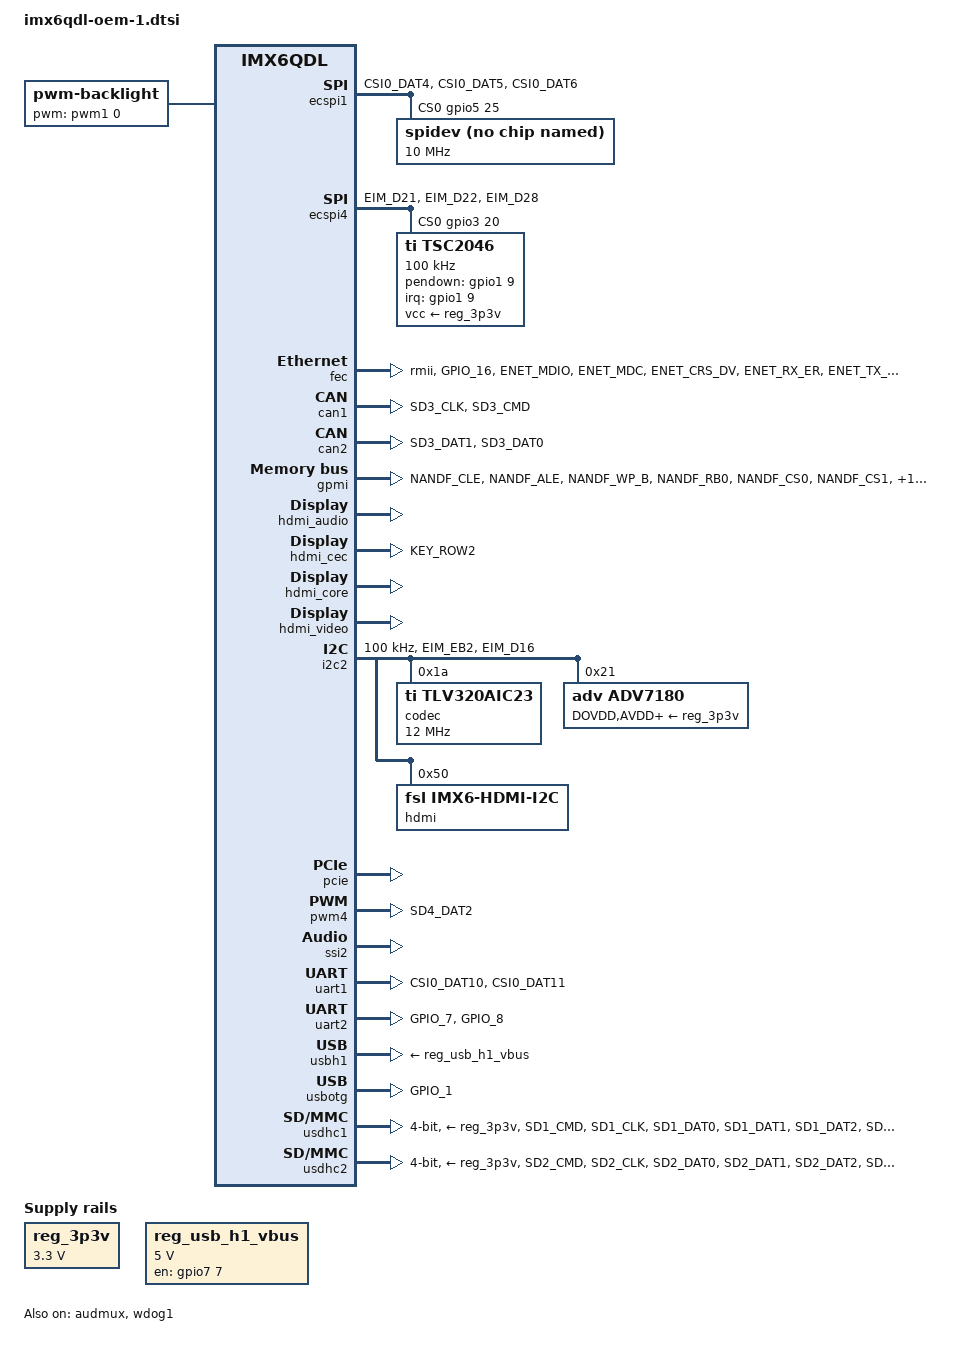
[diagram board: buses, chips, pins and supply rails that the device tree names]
/*
 * Copyright 2014 starterkit.ru
 *
 * The code contained herein is licensed under the GNU General Public
 * License V2.
 */

#include <dt-bindings/gpio/gpio.h>
#include <dt-bindings/input/input.h>
#include "imx6qdl-lvds-1024x768-1024x768.dtsi"

/ {
	aliases {
		mxcfb0 = &mxcfb1;
		mxcfb1 = &mxcfb2;
	};

	backlight {
		compatible = "pwm-backlight";
		pwms = <&pwm1 0 5000000>;
		brightness-levels = <0 4 8 16 32 64 128 255>;
		default-brightness-level = <7>;
	};

	regulators {
		compatible = "simple-bus";

		reg_3p3v: 3p3v {
			compatible = "regulator-fixed";
			regulator-name = "3P3V";
			regulator-min-microvolt = <3300000>;
			regulator-max-microvolt = <3300000>;
			regulator-always-on;
		};

		reg_usb_h1_vbus: usb_h1_vbus {
			compatible = "regulator-fixed";
			regulator-name = "usb_h1_vbus";
			regulator-min-microvolt = <5000000>;
			regulator-max-microvolt = <5000000>;
			gpio = <&gpio7 7 0>;
			enable-active-high;
		};
	};

	mxcfb1: fb@0 {
		compatible = "fsl,mxc_sdc_fb";
		disp_dev = "ldb";
		interface_pix_fmt = "RGB24";
		default_bpp = <16>;
		int_clk = <0>;
		late_init = <0>;
		status = "disabled";
	};

	mxcfb2: fb@1 {
		compatible = "fsl,mxc_sdc_fb";
		disp_dev = "hdmi";
		interface_pix_fmt = "RGB24";
		mode_str = "1280x720M@60";
		default_bpp = <16>;
		int_clk = <0>;
		late_init = <0>;
		status = "disabled";
	};

	lcd@0 {
		compatible = "fsl,lcd";
		ipu_id = <0>;
		disp_id = <0>;
		default_ifmt = "RGB24";
		pinctrl-names = "default";
		pinctrl-0 = <&pinctrl_ipu1_disp_oem>;
		status = "okay";
	};

	sound {
		compatible = "fsl,imx-audio-tlv320";
		model = "imx-tlv320";
		ssi-controller = <&ssi2>;
		audio-codec = <&codec>;
		audio-routing =
			"MICIN", "Mic Jack",
			"Headphone Jack", "LHPOUT",
			"Headphone Jack", "RHPOUT";
		mux-int-port = <2>;
		mux-ext-port = <5>;
	};

	sound-hdmi {
		compatible = "fsl,imx6q-audio-hdmi",
			     "fsl,imx-audio-hdmi";
		model = "imx-audio-hdmi";
		hdmi-controller = <&hdmi_audio>;
	};

	sound-spdif {
		compatible = "fsl,imx-audio-spdif",
				"fsl,imx-sabreauto-spdif";
		model = "imx-spdif";
		spdif-controller = <&spdif>;
		spdif-out;
	};

	v4l2_cap_0 {
		compatible = "fsl,imx6q-v4l2-capture";
		ipu_id = <0>;
		csi_id = <0>;
		mclk_source = <0>;
		ain_num = <1>;
		status = "okay";
	};
	
	v4l2_out {
		compatible = "fsl,mxc_v4l2_output";
		status = "okay";
	};
};

&audmux {
	pinctrl-names = "default";
	pinctrl-0 = <&pinctrl_audmux_oem>;
	status = "okay";
};

&cpu0 {
	arm-supply = <&reg_arm>;
	soc-supply = <&reg_soc>;
};

&ecspi1 {
	fsl,spi-num-chipselects = <1>;
	cs-gpios = <&gpio5 25 0>;
	pinctrl-names = "default";
	pinctrl-0 = <&pinctrl_ecspi1_oem>;
	status = "okay";

	spidev {
		compatible = "rohm,dh2228fv";
		spi-max-frequency = <10000000>;
		reg = <0>;
	};
};

&ecspi4 {
	fsl,spi-num-chipselects = <1>;
	cs-gpios = <&gpio3 20 0>;
	pinctrl-names = "default";
	pinctrl-0 = <&pinctrl_ecspi4_oem>;
	status = "okay";

	tsc2046@0 {
		compatible = "ti,tsc2046";
		reg = <0>;
		spi-max-frequency = <100000>;
		/* pen irq is GPIO1_9 */
		interrupt-parent = <&gpio1>;
		interrupts = <9 0x2>;
		pendown-gpio = <&gpio1 9 0>;
		vcc-supply = <&reg_3p3v>;

		ti,debounce-max = /bits/ 16 <5>;
		ti,debounce-tol = /bits/ 16 <10>;
		ti,debounce-rep = /bits/ 16 <0>;

		linux,wakeup;
	};
};

&fec {
	pinctrl-names = "default";
	pinctrl-0 = <&pinctrl_enet_oem>;
	phy-mode = "rmii";
	phy-reset-gpios = <&gpio1 23 0>;
	status = "okay";
};

&can1 {
	pinctrl-names = "default";
	pinctrl-0 = <&pinctrl_flexcan1_oem>;
	status = "okay";
};

&can2 {
	pinctrl-names = "default";
	pinctrl-0 = <&pinctrl_flexcan2_oem>;
	status = "okay";
};

&gpc {
	fsl,ldo-bypass = <0>;
	fsl,wdog-reset = <1>;
};

&gpmi {
	pinctrl-names = "default";
	pinctrl-0 = <&pinctrl_gpmi_nand_oem>;
	nand-on-flash-bbt;
	fsl,legacy-bch-geometry;
	status = "okay";
};

&hdmi_audio {
	status = "okay";
};

&hdmi_cec {
	pinctrl-names = "default";
	pinctrl-0 = <&pinctrl_hdmi_cec_oem>;
	status = "okay";
};

&hdmi_core {
	ipu_id = <0>;
	disp_id = <1>;
	status = "okay";
};

&hdmi_video {
	fsl,phy_reg_vlev = <0x0294>;
	fsl,phy_reg_cksymtx = <0x800d>;
	status = "okay";
};

&i2c2 {
	clock-frequency = <100000>;
	pinctrl-names = "default";
	pinctrl-0 = <&pinctrl_i2c2_oem>;
	status = "okay";

	codec: tlv320aic23@1a {
		compatible = "ti,tlv320aic23";
		reg = <0x1a>;
		clocks = <&clks 200>;
		clock-frequency = <12000000>;
	};

	adv7180: adv7180@21 {
		compatible = "adv,adv7180";
		reg = <0x21>;
		pinctrl-names = "default";
		pinctrl-0 = <&pinctrl_ipu1_csi_oem>;
		clocks = <&clks 201>;
		clock-names = "csi_mclk";
		DOVDD-supply = <&reg_3p3v>;
		AVDD-supply = <&reg_3p3v>;
		DVDD-supply = <&reg_3p3v>;
		PVDD-supply = <&reg_3p3v>;
		csi_id = <0>;
		mclk = <24000000>;
		mclk_source = <0>;
		cvbs = <1>;
		cam_std = <0>; /* 0 - PAL(default), 1 - NTSC J , 2 - NTSC M */
	};
	
	hdmi: edid@50 {
		compatible = "fsl,imx6-hdmi-i2c";
		reg = <0x50>;
	};
};

&iomuxc {
	pinctrl-names = "default";
	pinctrl-0 = <&pinctrl_hog>;

	hog {
		pinctrl_hog: hoggrp {
			fsl,pins = <
				/* AUDIO_MCLK */
				MX6QDL_PAD_NANDF_CS2__CCM_CLKO2             0x80000000
				/* ECSPI1 CS0 */
				MX6QDL_PAD_CSI0_DAT7__GPIO5_IO25            0x80000000
				/* ECSPI4 CS0 */
				MX6QDL_PAD_EIM_D20__GPIO3_IO20              0x80000000
				/* LVDS0 TS PENIRQ */
				MX6QDL_PAD_GPIO_9__GPIO1_IO09               0x80000000
				/* LVDS1 TS PENIRQ */
				MX6QDL_PAD_KEY_ROW4__GPIO4_IO15             0x80000000
				/* PHY Reset */
				MX6QDL_PAD_ENET_REF_CLK__GPIO1_IO23         0x80000000
				/* SD1 CD */
				MX6QDL_PAD_SD4_DAT1__GPIO2_IO09             0x80000000
				/* SD2_DET */
				MX6QDL_PAD_SD4_DAT3__GPIO2_IO11             0x80000000
				/* USB Host power */
				MX6QDL_PAD_SD3_DAT3__GPIO7_IO07             0x80000000

                MX6QDL_PAD_EIM_DA11__GPIO3_IO11            0x0000B0B1
                MX6QDL_PAD_EIM_DA12__GPIO3_IO12            0x0000B0B1
                MX6QDL_PAD_EIM_DA13__GPIO3_IO13            0x0000B0B1
                MX6QDL_PAD_EIM_DA14__GPIO3_IO14            0x0000B0F1
                MX6QDL_PAD_EIM_DA15__GPIO3_IO15            0x0000B0B1
                MX6QDL_PAD_EIM_EB0__GPIO2_IO28             0x0000B0B1
			>;
		};
	};

	audmux {
		pinctrl_audmux_oem: audmux-oem {
			fsl,pins = <
				MX6QDL_PAD_KEY_COL0__AUD5_TXC               0x130b0
				MX6QDL_PAD_KEY_ROW0__AUD5_TXD               0x130b0
				MX6QDL_PAD_KEY_COL1__AUD5_TXFS              0x130b0
				MX6QDL_PAD_KEY_ROW1__AUD5_RXD               0x130b0
			>;
		};
	};

	ecspi1 {
		pinctrl_ecspi1_oem: ecspi1-oem {
			fsl,pins = <
				MX6QDL_PAD_CSI0_DAT4__ECSPI1_SCLK           0x100b1
				MX6QDL_PAD_CSI0_DAT5__ECSPI1_MOSI           0x100b1
				MX6QDL_PAD_CSI0_DAT6__ECSPI1_MISO           0x100b1
			>;
		};
	};

	ecspi4 {
		pinctrl_ecspi4_oem: ecspi4-oem {
			fsl,pins = <
				MX6QDL_PAD_EIM_D21__ECSPI4_SCLK             0x100b1
				MX6QDL_PAD_EIM_D22__ECSPI4_MISO             0x100b1
				MX6QDL_PAD_EIM_D28__ECSPI4_MOSI             0x100b1
			>;
		};
	};

	fec {
		pinctrl_enet_oem: enet-oem {
			fsl,pins = <
				MX6QDL_PAD_GPIO_16__ENET_REF_CLK            0x4001b0b0
				MX6QDL_PAD_ENET_MDIO__ENET_MDIO             0x1b0b0
				MX6QDL_PAD_ENET_MDC__ENET_MDC               0x1b0b0
				MX6QDL_PAD_ENET_CRS_DV__ENET_RX_EN          0x1b0b0
				MX6QDL_PAD_ENET_RX_ER__ENET_RX_ER           0x1b0b0
				MX6QDL_PAD_ENET_TX_EN__ENET_TX_EN           0x1b0b0
				MX6QDL_PAD_ENET_RXD0__ENET_RX_DATA0         0x1b0b0
				MX6QDL_PAD_ENET_RXD1__ENET_RX_DATA1         0x1b0b0
				MX6QDL_PAD_ENET_TXD0__ENET_TX_DATA0         0x1b0b0
				MX6QDL_PAD_ENET_TXD1__ENET_TX_DATA1         0x1b0b0
			>;
		};
	};

	flexcan1 {
		pinctrl_flexcan1_oem: flexcan1-oem {
			fsl,pins = <
				MX6QDL_PAD_SD3_CLK__FLEXCAN1_RX             0x80000000
				MX6QDL_PAD_SD3_CMD__FLEXCAN1_TX             0x80000000
			>;
		};
	};

	flexcan2 {
		pinctrl_flexcan2_oem: flexcan2-oem {
			fsl,pins = <
				MX6QDL_PAD_SD3_DAT1__FLEXCAN2_RX            0x80000000
				MX6QDL_PAD_SD3_DAT0__FLEXCAN2_TX            0x80000000
			>;
		};
	};

	gpmi-nand {
		pinctrl_gpmi_nand_oem: gpmi-nand-oem {
			fsl,pins = <
				MX6QDL_PAD_NANDF_CLE__NAND_CLE              0xb0b1
				MX6QDL_PAD_NANDF_ALE__NAND_ALE              0xb0b1
				MX6QDL_PAD_NANDF_WP_B__NAND_WP_B            0xb0b1
				MX6QDL_PAD_NANDF_RB0__NAND_READY_B          0xb000
				MX6QDL_PAD_NANDF_CS0__NAND_CE0_B            0xb0b1
				MX6QDL_PAD_NANDF_CS1__NAND_CE1_B            0xb0b1
				MX6QDL_PAD_SD4_CMD__NAND_RE_B               0xb0b1
				MX6QDL_PAD_SD4_CLK__NAND_WE_B               0xb0b1
				MX6QDL_PAD_NANDF_D0__NAND_DATA00            0xb0b1
				MX6QDL_PAD_NANDF_D1__NAND_DATA01            0xb0b1
				MX6QDL_PAD_NANDF_D2__NAND_DATA02            0xb0b1
				MX6QDL_PAD_NANDF_D3__NAND_DATA03            0xb0b1
				MX6QDL_PAD_NANDF_D4__NAND_DATA04            0xb0b1
				MX6QDL_PAD_NANDF_D5__NAND_DATA05            0xb0b1
				MX6QDL_PAD_NANDF_D6__NAND_DATA06            0xb0b1
				MX6QDL_PAD_NANDF_D7__NAND_DATA07            0xb0b1
				MX6QDL_PAD_SD4_DAT0__NAND_DQS               0x00b1
			>;
		};
	};

	hdmi_cec {
		pinctrl_hdmi_cec_oem: hdmi-cec-oem {
			fsl,pins = <
				MX6QDL_PAD_KEY_ROW2__HDMI_TX_CEC_LINE       0x1f8b0
			>;
		};
	};

	i2c2 {
		pinctrl_i2c2_oem: i2c2-oem {
			fsl,pins = <
				MX6QDL_PAD_EIM_EB2__I2C2_SCL                0x4001b8b1
				MX6QDL_PAD_EIM_D16__I2C2_SDA                0x4001b8b1
			>;
		};
	};

	i2c3 {
		pinctrl_i2c3_oem: i2c3-oem {
			fsl,pins = <
				MX6QDL_PAD_EIM_D17__I2C3_SCL                0x4001b8b1
				MX6QDL_PAD_EIM_D18__I2C3_SDA                0x4001b8b1
			>;
		};
	};

	ipu1 {
		pinctrl_ipu1_csi_oem: ipu1-csi-oem {
			fsl,pins = <
				MX6QDL_PAD_CSI0_DAT12__IPU1_CSI0_DATA12     0x80000000
				MX6QDL_PAD_CSI0_DAT13__IPU1_CSI0_DATA13     0x80000000
				MX6QDL_PAD_CSI0_DAT14__IPU1_CSI0_DATA14     0x80000000
				MX6QDL_PAD_CSI0_DAT15__IPU1_CSI0_DATA15     0x80000000
				MX6QDL_PAD_CSI0_DAT16__IPU1_CSI0_DATA16     0x80000000
				MX6QDL_PAD_CSI0_DAT17__IPU1_CSI0_DATA17     0x80000000
				MX6QDL_PAD_CSI0_DAT18__IPU1_CSI0_DATA18     0x80000000
				MX6QDL_PAD_CSI0_DAT19__IPU1_CSI0_DATA19     0x80000000
				MX6QDL_PAD_CSI0_DATA_EN__IPU1_CSI0_DATA_EN  0x80000000
				MX6QDL_PAD_CSI0_PIXCLK__IPU1_CSI0_PIXCLK    0x80000000
				MX6QDL_PAD_CSI0_MCLK__IPU1_CSI0_HSYNC       0x80000000
				MX6QDL_PAD_CSI0_VSYNC__IPU1_CSI0_VSYNC      0x80000000
			>;
		};

		pinctrl_ipu1_disp_oem: ipu1-disp-oem {
			fsl,pins = <
				MX6QDL_PAD_DI0_DISP_CLK__IPU1_DI0_DISP_CLK  0x10
				MX6QDL_PAD_DI0_PIN15__IPU1_DI0_PIN15        0x10
				MX6QDL_PAD_DI0_PIN2__IPU1_DI0_PIN02         0x10
				MX6QDL_PAD_DI0_PIN3__IPU1_DI0_PIN03         0x10
				MX6QDL_PAD_DI0_PIN4__IPU1_DI0_PIN04         0x80000000
				MX6QDL_PAD_DISP0_DAT0__IPU1_DISP0_DATA00    0x10
				MX6QDL_PAD_DISP0_DAT1__IPU1_DISP0_DATA01    0x10
				MX6QDL_PAD_DISP0_DAT2__IPU1_DISP0_DATA02    0x10
				MX6QDL_PAD_DISP0_DAT3__IPU1_DISP0_DATA03    0x10
				MX6QDL_PAD_DISP0_DAT4__IPU1_DISP0_DATA04    0x10
				MX6QDL_PAD_DISP0_DAT5__IPU1_DISP0_DATA05    0x10
				MX6QDL_PAD_DISP0_DAT6__IPU1_DISP0_DATA06    0x10
				MX6QDL_PAD_DISP0_DAT7__IPU1_DISP0_DATA07    0x10
				MX6QDL_PAD_DISP0_DAT8__IPU1_DISP0_DATA08    0x10
				MX6QDL_PAD_DISP0_DAT9__IPU1_DISP0_DATA09    0x10
				MX6QDL_PAD_DISP0_DAT10__IPU1_DISP0_DATA10   0x10
				MX6QDL_PAD_DISP0_DAT11__IPU1_DISP0_DATA11   0x10
				MX6QDL_PAD_DISP0_DAT12__IPU1_DISP0_DATA12   0x10
				MX6QDL_PAD_DISP0_DAT13__IPU1_DISP0_DATA13   0x10
				MX6QDL_PAD_DISP0_DAT14__IPU1_DISP0_DATA14   0x10
				MX6QDL_PAD_DISP0_DAT15__IPU1_DISP0_DATA15   0x10
				MX6QDL_PAD_DISP0_DAT16__IPU1_DISP0_DATA16   0x10
				MX6QDL_PAD_DISP0_DAT17__IPU1_DISP0_DATA17   0x10
				MX6QDL_PAD_DISP0_DAT18__IPU1_DISP0_DATA18   0x10
				MX6QDL_PAD_DISP0_DAT19__IPU1_DISP0_DATA19   0x10
				MX6QDL_PAD_DISP0_DAT20__IPU1_DISP0_DATA20   0x10
				MX6QDL_PAD_DISP0_DAT21__IPU1_DISP0_DATA21   0x10
				MX6QDL_PAD_DISP0_DAT22__IPU1_DISP0_DATA22   0x10
				MX6QDL_PAD_DISP0_DAT23__IPU1_DISP0_DATA23   0x10
			>;
		};
	};

	pwm1 {
		pinctrl_pwm1_oem: pwm1-oem {
			fsl,pins = <
				MX6QDL_PAD_GPIO_9__PWM1_OUT                 0x1b0b1
			>;
		};
	};

	pwm4 {
		pinctrl_pwm4_oem: pwm4-oem {
			fsl,pins = <
				MX6QDL_PAD_SD4_DAT2__PWM4_OUT               0x1b0b1
			>;
		};
	};

	spdif {
		pinctrl_spdif_oem: spdif-oem {
			fsl,pins = <
				MX6QDL_PAD_GPIO_17__SPDIF_OUT               0x1b0b0
			>;
		};
	};

	uart1 {
		pinctrl_uart1_oem: uart1-oem {
			fsl,pins = <
				MX6QDL_PAD_CSI0_DAT10__UART1_TX_DATA        0x1b0b1
				MX6QDL_PAD_CSI0_DAT11__UART1_RX_DATA        0x1b0b1
			>;
		};
	};

	uart2 {
		pinctrl_uart2_oem: uart2-oem {
			fsl,pins = <
				MX6QDL_PAD_GPIO_7__UART2_TX_DATA            0x1b0b1
				MX6QDL_PAD_GPIO_8__UART2_RX_DATA            0x1b0b1
			>;
		};
	};

	usbotg {
		pinctrl_usbotg_oem: usbotg-oem {
			fsl,pins = <
				MX6QDL_PAD_GPIO_1__USB_OTG_ID               0x17059
			>;
		};
	};

	usdhc1 {
		pinctrl_usdhc1_oem: usdhc1-oem {
			fsl,pins = <
				MX6QDL_PAD_SD1_CMD__SD1_CMD                 0x17059
				MX6QDL_PAD_SD1_CLK__SD1_CLK                 0x10059
				MX6QDL_PAD_SD1_DAT0__SD1_DATA0              0x17059
				MX6QDL_PAD_SD1_DAT1__SD1_DATA1              0x17059
				MX6QDL_PAD_SD1_DAT2__SD1_DATA2              0x17059
				MX6QDL_PAD_SD1_DAT3__SD1_DATA3              0x17059
			>;
		};
	};

	usdhc2 {
		pinctrl_usdhc2_oem: usdhc2-oem {
			fsl,pins = <
				MX6QDL_PAD_SD2_CMD__SD2_CMD                 0x17059
				MX6QDL_PAD_SD2_CLK__SD2_CLK                 0x10059
				MX6QDL_PAD_SD2_DAT0__SD2_DATA0              0x17059
				MX6QDL_PAD_SD2_DAT1__SD2_DATA1              0x17059
				MX6QDL_PAD_SD2_DAT2__SD2_DATA2              0x17059
				MX6QDL_PAD_SD2_DAT3__SD2_DATA3              0x17059
			>;
		};
	};
};

&pcie {
	status = "okay";
};

&pwm4 {
	pinctrl-names = "default";
	pinctrl-0 = <&pinctrl_pwm4_oem>;
	status = "okay";
};

&spdif {
	pinctrl-names = "default";
	pinctrl-0 = <&pinctrl_spdif_oem>;
	status = "disabled";
};

&ssi2 {
	fsl,mode = "i2s-slave";
	status = "okay";
};

&uart1 {
	pinctrl-names = "default";
	pinctrl-0 = <&pinctrl_uart1_oem>;
	status = "okay";
};

&uart2 {
	pinctrl-names = "default";
	pinctrl-0 = <&pinctrl_uart2_oem>;
	status = "okay";
};

&usbh1 {
	vbus-supply = <&reg_usb_h1_vbus>;
	status = "okay";
};

&usbotg {
	pinctrl-names = "default";
	pinctrl-0 = <&pinctrl_usbotg_oem>;
	disable-over-current;
	status = "okay";
};

&usdhc1 {
	pinctrl-names = "default";
	pinctrl-0 = <&pinctrl_usdhc1_oem>;
	cd-gpios = <&gpio2 9 GPIO_ACTIVE_LOW>;
	vmmc-supply = <&reg_3p3v>;
	keep-power-in-suspend;
	bus-width = <4>;
	no-1-8-v;
	status = "okay";
};

&usdhc2 {
	pinctrl-names = "default";
	pinctrl-0 = <&pinctrl_usdhc2_oem>;
	cd-gpios = <&gpio2 11 GPIO_ACTIVE_LOW>;
	vmmc-supply = <&reg_3p3v>;
	keep-power-in-suspend;
	bus-width = <4>;
	no-1-8-v;
	status = "okay";
};

&wdog1 {
	status = "okay";
};

&wdog2 {
	status = "disabled";
};
